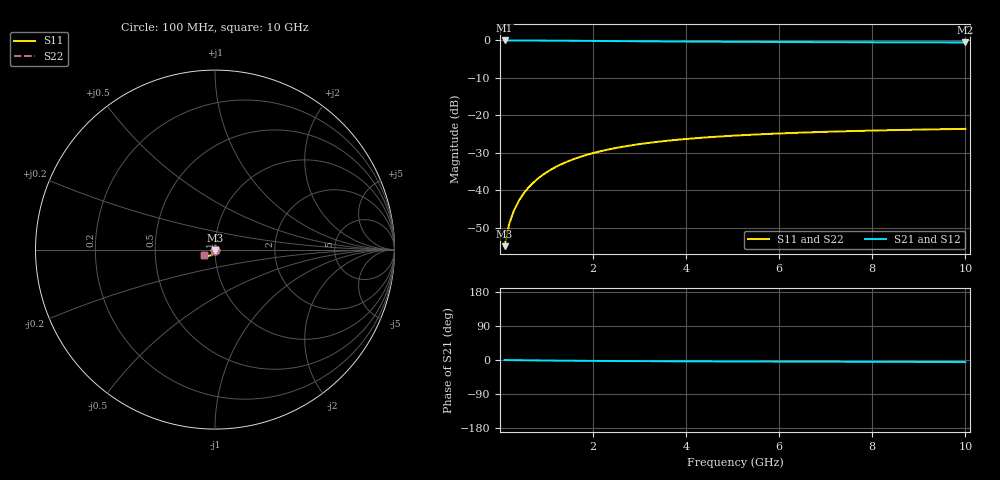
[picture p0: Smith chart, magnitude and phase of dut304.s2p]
! Touchstone file exported from HFSS 2024.1.0
!  File:  C:/UserFiles/LocalFiles/RDL_TSV_Batchsim/temp_TSV1_304_1779615256.aedt
!  Generated:  05:39:45 PM May 24, 2026
!  Design:  TSV1
!  Project:  temp_TSV1_304_1779615256
!  Setup:  Setup1
!  Solution:  Sweep
! Variables:
!  dtsv = 13.69um
!  hbump = 3um
!  htsv = 80.86um
!  lrdl = 252.1521522um
!  p = 40
!  p1 = 44.53um
!  t = 500um
!  trdl = 3um
!  wrdl = 24.89489489um
# GHz S MA R 50.000000
! Terminal data exported
! Port[1] = TSV22_T1
! Port[2] = TSV22_T2
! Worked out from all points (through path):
!   100 points, 100 MHz to 10 GHz, reference 50 ohm
!   highest |S21| = 0.00 dB at 100 MHz (marker M1); lowest = -0.5 dB at 10 GHz (marker M2)
!   lowest |S11| = -55.0 dB at 100 MHz (marker M3), VSWR 1.00, Z = 50 - j0.178 ohm
!   |S11| at or under -10 dB: start of sweep to end of sweep
!   |S22| runs from -55.0 to -23.6 dB; largest |S21 - S12| = 6.4e-15
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0.1  0.00178 -88.7  0.9999 -0.1  0.9999 -0.1  0.00178 -88.7
! Gamma 0 0 0 0
! Port Impedance 50 0 50 0
0.2  0.00356 -91.5  0.9997 -0.3  0.9997 -0.3  0.00356 -91.5
0.3  0.005338 -93.4  0.9994 -0.4  0.9994 -0.4  0.005338 -93.4
0.4  0.00711 -95.2  0.9991 -0.6  0.9991 -0.6  0.00711 -95.2
0.5  0.008866 -96.9  0.9986 -0.7  0.9986 -0.7  0.008866 -96.9
0.6  0.0106 -98.5  0.9981 -0.8  0.9981 -0.8  0.0106 -98.5
0.7  0.01231 -100.1  0.9975 -1.0  0.9975 -1.0  0.01231 -100.1
0.8  0.014 -101.6  0.9969 -1.1  0.9969 -1.1  0.014 -101.6
0.9  0.01565 -103.2  0.9961 -1.2  0.9961 -1.2  0.01565 -103.2
1.1  0.01884 -106.1  0.9945 -1.4  0.9945 -1.4  0.01884 -106.1
1.4  0.02334 -110.3  0.9917 -1.8  0.9917 -1.8  0.02334 -110.3
1.6  0.02613 -112.9  0.9897 -2.0  0.9897 -2.0  0.02613 -112.9
1.8  0.02875 -115.3  0.9876 -2.2  0.9876 -2.2  0.02875 -115.3
2.1  0.03237 -118.8  0.9844 -2.4  0.9844 -2.4  0.03237 -118.8
2.5  0.03664 -122.9  0.9802 -2.7  0.9802 -2.7  0.03664 -122.9
2.9  0.04034 -126.6  0.9762 -3.0  0.9762 -3.0  0.04034 -126.6
3.4  0.04428 -130.6  0.9715 -3.2  0.9715 -3.2  0.04428 -130.6
4.2  0.04935 -135.9  0.965 -3.6  0.965 -3.6  0.04935 -135.9
5.1  0.05373 -140.7  0.9589 -3.9  0.9589 -3.9  0.05373 -140.7
6.7  0.05926 -147.0  0.9508 -4.4  0.9508 -4.4  0.05926 -147.0
8.4  0.06322 -151.9  0.9448 -4.9  0.9448 -4.9  0.06322 -151.9
10  0.06585 -155.4  0.9407 -5.4  0.9407 -5.4  0.06584 -155.4
